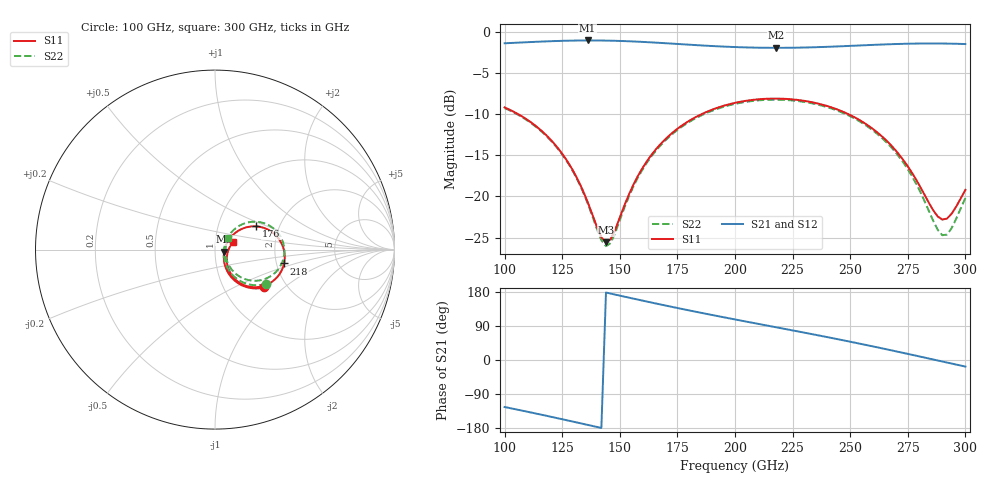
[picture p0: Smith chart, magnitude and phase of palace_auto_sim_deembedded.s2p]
! Created with skrf 1.11.0 (http://scikit-rf.org).
# GHz S DB R 50.0
!freq dBS11 angS11 dBS21 angS21 dBS12 angS12 dBS22 angS22
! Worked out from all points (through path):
!   101 points, 100 GHz to 300 GHz, reference 50 ohm
!   highest |S21| = -1.07 dB at 136 GHz (marker M1); lowest = -2.0 dB at 218 GHz (marker M2)
!   group delay of S21, straight-line fit = 3.46 ps
!   lowest |S11| = -25.6 dB at 144 GHz (marker M3), VSWR 1.11, Z = 55.4 - j1.28 ohm
!   |S11| at or under -10 dB: 105.8 GHz to 185.6 GHz (79.84 GHz wide, 54.8 % of centre); 249.1 GHz to end of sweep
!   |S22| runs from -26.0 to -8.3 dB; largest |S21 - S12| = 1.4e-13
!   S11 on the Smith chart (normalised r, x): 100 GHz: 1.55, -0.74; 176 GHz: 1.52, +0.42; 218 GHz: 2.20, -0.40; 300 GHz: 1.22, +0.11
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100  -9.20 -37.4  -1.41 -124.1  -1.41 -124.1  -9.28 -33.7
120  -13.12 -56.1  -1.16 -149.7  -1.16 -149.7  -13.21 -51.8
128  -16.07 -60.3  -1.09 -160.3  -1.09 -160.3  -16.17 -55.9
134  -19.30 -58.4  -1.07 -168.4  -1.07 -168.4  -19.43 -54.1
136  -20.65 -55.5  -1.07 -171.1  -1.07 -171.1  -20.80 -51.3
142  -24.96 -29.3  -1.08 -179.3  -1.08 -179.3  -25.32 -25.1
144  -25.60 -12.6  -1.09 178.0  -1.09 178.0  -26.05 -7.8
146  -25.22 4.6  -1.10 175.3  -1.10 175.3  -25.68 10.3
158  -17.45 39.4  -1.22 159.2  -1.22 159.2  -17.65 46.4
168  -13.56 35.8  -1.37 146.1  -1.37 146.1  -13.71 43.0
176  -11.59 29.4  -1.51 136.0  -1.51 136.0  -11.73 36.7
188  -9.70 18.2  -1.71 121.3  -1.71 121.3  -9.84 25.8
200  -8.64 6.4  -1.87 107.0  -1.87 107.0  -8.77 14.3
218  -8.13 -11.3  -1.96 86.2  -1.96 86.2  -8.26 -3.1
234  -8.60 -27.0  -1.90 67.6  -1.90 67.6  -8.74 -18.5
252  -10.41 -44.0  -1.70 45.8  -1.70 45.8  -10.56 -35.6
268  -13.88 -55.6  -1.52 25.3  -1.52 25.3  -14.10 -48.1
276  -16.78 -56.4  -1.46 14.8  -1.46 14.8  -17.16 -50.1
286  -21.68 -37.5  -1.43 1.4  -1.43 1.4  -22.96 -32.6
290  -22.82 -17.1  -1.44 -4.0  -1.44 -4.0  -24.72 -8.5
294  -22.12 4.6  -1.46 -9.3  -1.46 -9.3  -23.88 19.2
300  -19.21 23.1  -1.50 -17.3  -1.50 -17.3  -20.20 40.1
